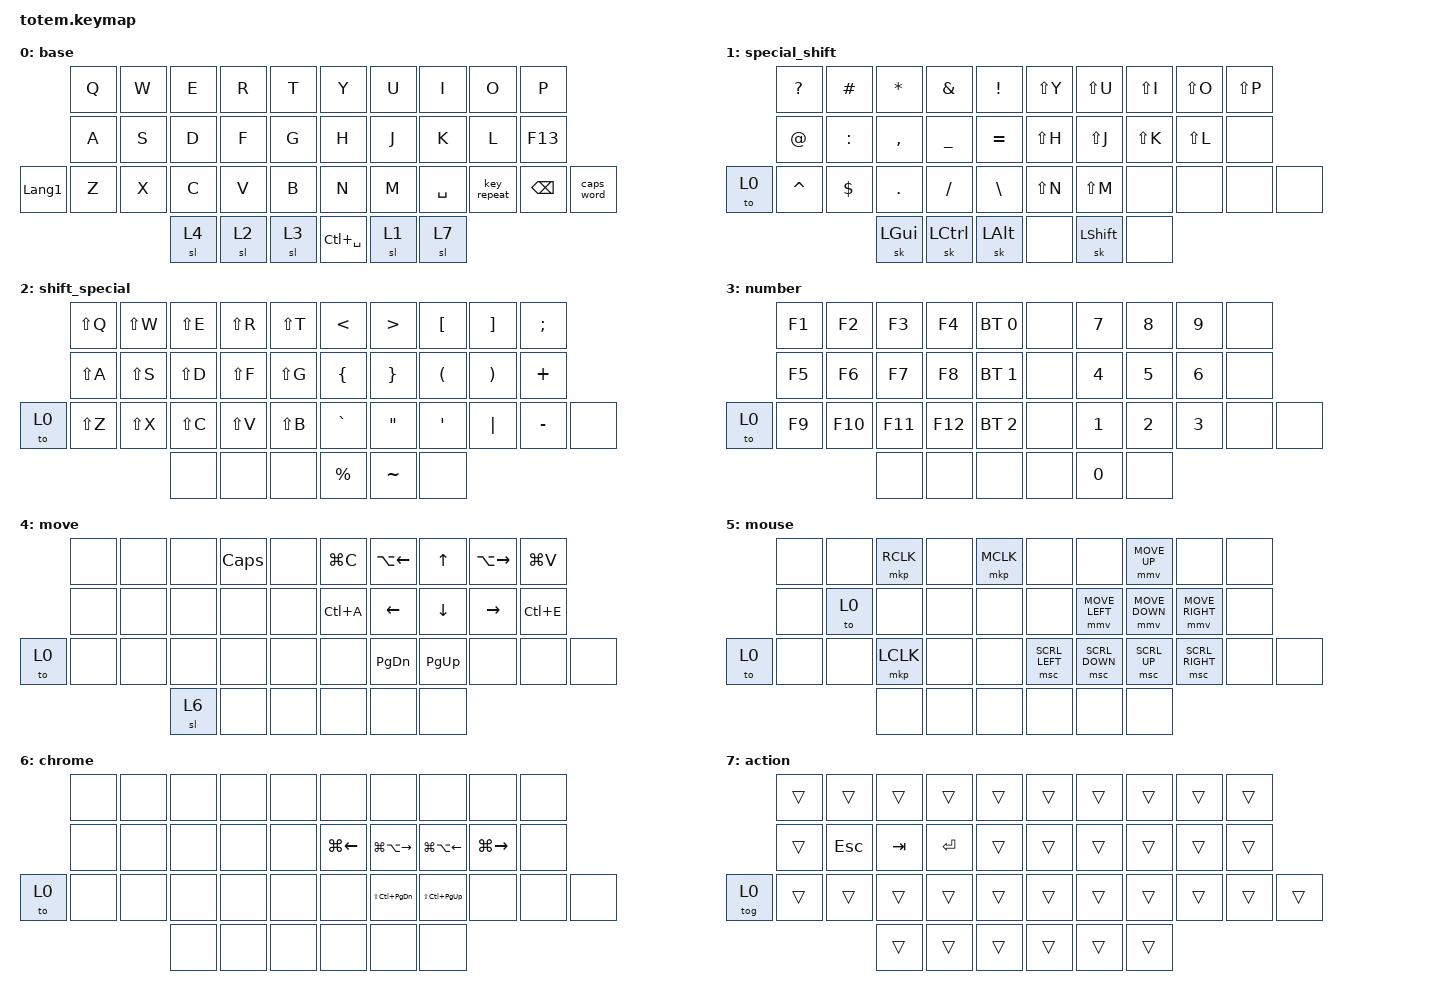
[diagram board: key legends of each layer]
//
//                                                        ▀▀▀▀▀     ▀▀▀▀▀          ▀▀█▀▀
//                                                        ▄▀▀▀▄  ▄  ▄▀▀▀▄  ▄  ▄▀▀▀▄  █  ▄▀▀▀▄
//                                                        █   █  █  █   █  █  █   █  █  █   █
//                                                         ▀▀▀   █   ▀▀▀   █   ▀▀▀   ▀   ▀▀▀
//                                                               █      ▄▄▄█▄▄▄    █   █  
//                                                               ▀      █  █  █     █▄█
//                                                             ▀▀▀▀▀    █  █  █      ▀
//                                                                      ▀  ▀  ▀
//
// ▄▄▄▄▄▄▄▄▄▄▄▄▄▄▄▄▄▄▄▄▄▄▄▄▄▄▄▄▄▄▄▄▄▄▄▄▄▄▄▄▄▄▄▄▄▄▄▄▄▄▄▄▄▄▄▄▄▄▄▄▄▄▄▄▄▄▄▄▄▄▄▄▄▄▄▄▄▄▄▄▄▄▄▄▄▄▄▄▄▄▄▄▄▄▄▄▄▄▄▄▄▄▄▄▄▄▄▄▄▄▄▄▄▄▄▄▄▄▄▄▄▄▄▄▄▄▄▄▄▄▄▄▄▄▄▄▄▄▄▄▄▄▄▄▄▄▄▄▄

#include <behaviors.dtsi>
#include <dt-bindings/zmk/bt.h>
#include <dt-bindings/zmk/keys.h>
#include <dt-bindings/zmk/pointing.h>

/ {
    combos {
        compatible = "zmk,combos";

        bt_clear {
            bindings = <&bt BT_CLR>;
            key-positions = <33 34>;
        };

        power {
            bindings = <&kp C_POWER>;
            key-positions = <33 32>;
        };

        mouse {
            bindings = <&to 5>;
            key-positions = <36 37>;
        };
    };

    keymap {
        compatible = "zmk,keymap";

        base {
            bindings = <
                &kp Q  &kp W  &kp E  &kp R  &kp T    &kp Y          &kp U  &kp I      &kp O        &kp P
                &kp A  &kp S  &kp D  &kp F  &kp G    &kp H          &kp J  &kp K      &kp L        &kp F13
&kp LANGUAGE_1  &kp Z  &kp X  &kp C  &kp V  &kp B    &kp N          &kp M  &kp SPACE  &key_repeat  &kp BACKSPACE  &caps_word
                              &sl 4  &sl 2  &sl 3    &kp LC(SPACE)  &sl 1  &sl 7
            >;
        };

        special_shift {
            bindings = <
       &kp QUESTION  &kp HASH    &kp ASTERISK  &kp AMPERSAND   &kp EXCLAMATION    &kp LS(Y)  &kp LS(U)       &kp LS(I)  &kp LS(O)  &kp LS(P)
       &kp AT_SIGN   &kp COLON   &kp COMMA     &kp UNDERSCORE  &kp EQUAL          &kp LS(H)  &kp LS(J)       &kp LS(K)  &kp LS(L)  &none
&to 0  &kp CARET     &kp DOLLAR  &kp PERIOD    &kp SLASH       &kp BACKSLASH      &kp LS(N)  &kp LS(M)       &none      &none      &none      &none
                                 &sk LEFT_GUI  &sk LCTRL       &sk LEFT_ALT       &none      &sk LEFT_SHIFT  &none
            >;
        };

        shift_special {
            bindings = <
       &kp LS(Q)  &kp LS(W)  &kp LS(E)  &kp LS(R)  &kp LS(T)    &kp LESS_THAN   &kp GREATER_THAN   &kp LEFT_BRACKET      &kp RIGHT_BRACKET      &kp SEMICOLON
       &kp LS(A)  &kp LS(S)  &kp LS(D)  &kp LS(F)  &kp LS(G)    &kp LEFT_BRACE  &kp RIGHT_BRACE    &kp LEFT_PARENTHESIS  &kp RIGHT_PARENTHESIS  &kp PLUS
&to 0  &kp LS(Z)  &kp LS(X)  &kp LS(C)  &kp LS(V)  &kp LS(B)    &kp GRAVE       &kp DOUBLE_QUOTES  &kp SQT               &kp PIPE               &kp MINUS      &none
                             &none      &none      &none        &kp PERCENT     &kp TILDE          &none
            >;
        };

        number {
            bindings = <
       &kp F1  &kp F2   &kp F3   &kp F4   &bt BT_SEL 0    &none  &kp NUMBER_7  &kp NUMBER_8  &kp NUMBER_9  &none
       &kp F5  &kp F6   &kp F7   &kp F8   &bt BT_SEL 1    &none  &kp NUMBER_4  &kp NUMBER_5  &kp NUMBER_6  &none
&to 0  &kp F9  &kp F10  &kp F11  &kp F12  &bt BT_SEL 2    &none  &kp NUMBER_1  &kp NUMBER_2  &kp NUMBER_3  &none  &none
                        &none    &none    &none           &none  &kp NUMBER_0  &none
            >;
        };

        move {
            bindings = <
       &none  &none  &none  &kp CAPS  &none    &kp LG(C)  &kp LA(LEFT_ARROW)  &kp UP_ARROW    &kp LA(RIGHT_ARROW)  &kp LG(V)
       &none  &none  &none  &none     &none    &kp LC(A)  &kp LEFT_ARROW      &kp DOWN_ARROW  &kp RIGHT_ARROW      &kp LC(E)
&to 0  &none  &none  &none  &none     &none    &none      &kp PAGE_DOWN       &kp PAGE_UP     &none                &none      &none
                     &sl 6  &none     &none    &none      &none               &none
            >;
        };

        mouse {
            bindings = <
       &none  &none  &mkp RCLK  &none  &mkp MCLK    &none           &none           &mmv MOVE_UP    &none            &none
       &none  &to 0  &none      &none  &none        &none           &mmv MOVE_LEFT  &mmv MOVE_DOWN  &mmv MOVE_RIGHT  &none
&to 0  &none  &none  &mkp LCLK  &none  &none        &msc SCRL_LEFT  &msc SCRL_DOWN  &msc SCRL_UP    &msc SCRL_RIGHT  &none  &none
                     &none      &none  &none        &none           &none           &none
            >;
        };

        chrome {
            bindings = <
       &none  &none  &none  &none  &none    &none               &none                    &none                   &none                &none
       &none  &none  &none  &none  &none    &kp LG(LEFT_ARROW)  &kp LG(LA(RIGHT_ARROW))  &kp LG(LA(LEFT_ARROW))  &kp LG(RIGHT_ARROW)  &none
&to 0  &none  &none  &none  &none  &none    &none               &kp LS(LC(PAGE_DOWN))    &kp LS(LC(PAGE_UP))     &none                &none  &none
                     &none  &none  &none    &none               &none                    &none
            >;
        };

        action {
            bindings = <
        &trans  &trans      &trans   &trans     &trans    &trans  &trans  &trans  &trans  &trans
        &trans  &kp ESCAPE  &kp TAB  &kp ENTER  &trans    &trans  &trans  &trans  &trans  &trans
&tog 0  &trans  &trans      &trans   &trans     &trans    &trans  &trans  &trans  &trans  &trans  &trans
                            &trans   &trans     &trans    &trans  &trans  &trans
            >;
        };
    };

    conditional_layers { compatible = "zmk,conditional-layers"; };
};
